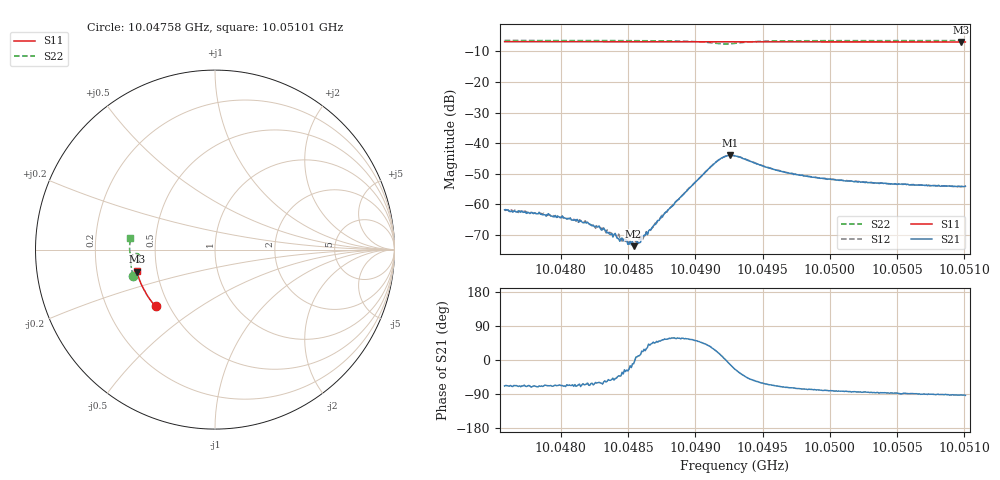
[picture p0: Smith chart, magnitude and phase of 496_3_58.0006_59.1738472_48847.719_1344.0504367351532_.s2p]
#  HZ  S  RI  R  50.00
! Rohde & Schwarz Vector Network Analyzer
! Rohde-Schwarz,ZNB20-2Port,1311601062101988,3.16
! Created: UTC 3/21/2024, 1:12:35 AM
! freq[Hz]  re:S11  im:S11  re:S21  im:S21  re:S12  im:S12  re:S22  im:S22
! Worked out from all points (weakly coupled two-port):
!   401 points, 10.04758 GHz to 10.05101 GHz, reference 50 ohm
!   highest |S21| = -43.97 dB at 10.04926 GHz (marker M1); lowest = -73.7 dB at 10.04854 GHz (marker M2)
!   lowest |S11| = -6.9 dB at 10.05097 GHz (marker M3), VSWR 2.65, Z = 19.2 - j5.91 ohm
!   |S11| at or under -10 dB: nowhere
!   |S22| runs from -7.6 to -6.4 dB; largest |S21 - S12| = 0.00046
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1.0047582e10  -0.331 -0.3167  0.000298 -0.000759  0.000337 -0.000711  -0.4562 -0.1452
1.0047856e10  -0.3428 -0.303  0.000249 -0.000639  0.000308 -0.000637  -0.461 -0.1267
1.0048156e10  -0.3551 -0.2875  0.000212 -0.00047  0.000222 -0.000482  -0.4653 -0.1059
1.0048276e10  -0.3598 -0.2811  0.000213 -0.000368  0.000241 -0.000363  -0.4669 -0.0972
1.004837e10  -0.3634 -0.2761  0.000191 -0.000257  0.000232 -0.000254  -0.4678 -0.0902
1.0048396e10  -0.3645 -0.2749  0.000193 -0.000257  0.000224 -0.000229  -0.4679 -0.0882
1.004843e10  -0.3658 -0.2729  0.000204 -0.000183  0.000265 -0.000191  -0.4682 -0.0856
1.0048473e10  -0.3674 -0.2706  0.000242 -0.000118  0.000219 -0.000137  -0.4685 -0.0823
1.0048507e10  -0.3686 -0.2688  0.000203 -9.08e-05  0.000233 -7.09e-05  -0.4688 -0.0795
1.0048541e10  -0.3699 -0.2669  0.000204 -3.63e-05  0.000216 -9.92e-06  -0.469 -0.0768
1.0048576e10  -0.3712 -0.265  0.000233 4.5e-05  0.000226 3.87e-05  -0.4691 -0.0739
1.004861e10  -0.3725 -0.2631  0.000277 0.000113  0.00023 0.000146  -0.4691 -0.071
1.004873e10  -0.3767 -0.2566  0.000348 0.000419  0.000322 0.000457  -0.4689 -0.0605
1.0049132e10  -0.39 -0.2336  0.00385 0.00221  0.00376 0.00251  -0.4345 -0.0219
1.0049201e10  -0.392 -0.2299  0.00571 0.000919  0.00567 0.00126  -0.4189 -0.0328
1.0049261e10  -0.3938 -0.2266  0.00617 -0.00139  0.00626 -0.00104  -0.4179 -0.0517
1.0049295e10  -0.395 -0.2247  0.00562 -0.00257  0.00585 -0.00219  -0.4244 -0.06
1.0049586e10  -0.4041 -0.208  0.00143 -0.00342  0.00162 -0.00335  -0.4675 -0.0437
1.0049869e10  -0.4118 -0.191  0.000589 -0.00272  0.000744 -0.00271  -0.4743 -0.0174
1.0050443e10  -0.4254 -0.1559  8.67e-05 -0.00218  0.000251 -0.00214  -0.4754 0.0261
1.0050974e10  -0.4352 -0.1226  -7.7e-05 -0.00198  2.35e-05 -0.00194  -0.4719 0.0628
1.0051008e10  -0.4358 -0.1205  -0.000115 -0.00198  -2.05e-05 -0.00195  -0.4714 0.0651
